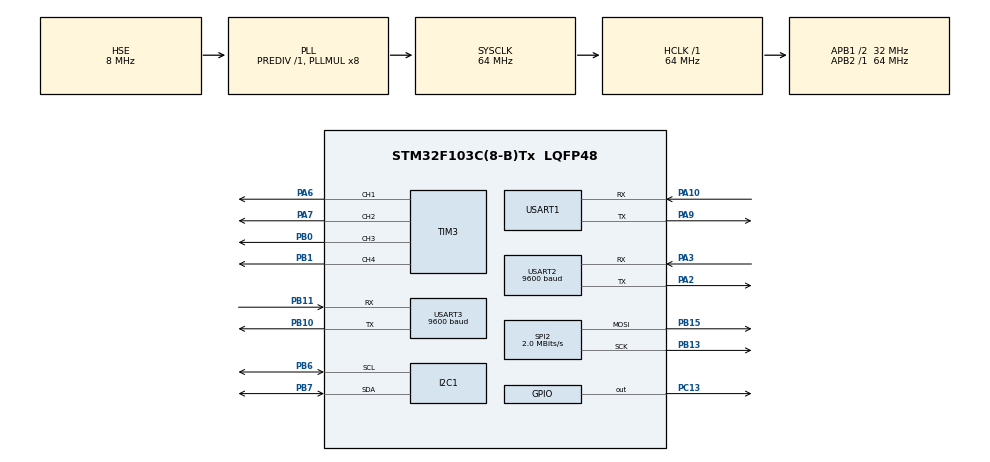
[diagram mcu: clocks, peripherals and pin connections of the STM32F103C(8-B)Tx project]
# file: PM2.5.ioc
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Mcu.Family=STM32F1
Mcu.Name=STM32F103C(8-B)Tx
Mcu.Package=LQFP48
NVIC.PriorityGroup=NVIC_PRIORITYGROUP_4
NVIC.USART1_IRQn=true\:0\:0\:false\:false\:true
NVIC.USART2_IRQn=true\:0\:0\:false\:false\:true
NVIC.USART3_IRQn=true\:0\:0\:false\:false\:true
PA10.Mode=Asynchronous
PA10.Signal=USART1_RX
PA13.Mode=Serial_Wire
PA13.Signal=SYS_JTMS-SWDIO
PA14.Mode=Serial_Wire
PA14.Signal=SYS_JTCK-SWCLK
PA2.Mode=Asynchronous
PA2.Signal=USART2_TX
PA3.Mode=Asynchronous
PA3.Signal=USART2_RX
PA6.Signal=S_TIM3_CH1
PA7.Signal=S_TIM3_CH2
PA9.Mode=Asynchronous
PA9.Signal=USART1_TX
PB0.Signal=S_TIM3_CH3
PB1.Signal=S_TIM3_CH4
PB10.Mode=Asynchronous
PB10.Signal=USART3_TX
PB11.Mode=Asynchronous
PB11.Signal=USART3_RX
PB13.Mode=TX_Only_Simplex_Unidirect_Master
PB13.Signal=SPI2_SCK
PB15.Mode=TX_Only_Simplex_Unidirect_Master
PB15.Signal=SPI2_MOSI
PB6.Mode=I2C
PB6.Signal=I2C1_SCL
PB7.Mode=I2C
PB7.Signal=I2C1_SDA
PC13-TAMPER-RTC.Signal=GPIO_Output
PC14-OSC32_IN.Mode=LSE-External-Oscillator
PC14-OSC32_IN.Signal=RCC_OSC32_IN
PC15-OSC32_OUT.Mode=LSE-External-Oscillator
PC15-OSC32_OUT.Signal=RCC_OSC32_OUT
PD0-OSC_IN.Mode=HSE-External-Oscillator
PD0-OSC_IN.Signal=RCC_OSC_IN
PD1-OSC_OUT.Mode=HSE-External-Oscillator
PD1-OSC_OUT.Signal=RCC_OSC_OUT
ProjectManager.HeapSize=0x200
ProjectManager.StackSize=0x400
ProjectManager.TargetToolchain=MDK-ARM V5
RCC.AHBFreq_Value=64000000
RCC.APB1CLKDivider=RCC_HCLK_DIV2
RCC.APB1Freq_Value=32000000
RCC.APB1TimFreq_Value=64000000
RCC.APB2Freq_Value=64000000
RCC.APB2TimFreq_Value=64000000
RCC.HCLKFreq_Value=64000000
RCC.HSIState=RCC_HSI_ON
RCC.PLLMUL=RCC_PLL_MUL8
RCC.PLLSourceVirtual=RCC_PLLSOURCE_HSE
RCC.SYSCLKFreq_VALUE=64000000
RCC.SYSCLKSource=RCC_SYSCLKSOURCE_PLLCLK
RCC.USBFreq_Value=64000000
SH.S_TIM3_CH1.0=TIM3_CH1,PWM Generation1 CH1
SH.S_TIM3_CH2.0=TIM3_CH2,PWM Generation2 CH2
SH.S_TIM3_CH3.0=TIM3_CH3,PWM Generation3 CH3
SH.S_TIM3_CH4.0=TIM3_CH4,PWM Generation4 CH4
SPI2.BaudRatePrescaler=SPI_BAUDRATEPRESCALER_16
SPI2.CalculateBaudRate=2.0 MBits/s
SPI2.Mode=SPI_MODE_MASTER
TIM3.Channel-PWM\ Generation2\ CH2=TIM_CHANNEL_2
TIM3.Channel-PWM\ Generation3\ CH3=TIM_CHANNEL_3
TIM3.Channel-PWM\ Generation4\ CH4=TIM_CHANNEL_4
USART2.BaudRate=9600
USART3.BaudRate=9600
board=PM2.5

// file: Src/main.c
/**
  ******************************************************************************
  * File Name          : main.c
  * Description        : Main program body
  ******************************************************************************
  *
  * COPYRIGHT(c) 2017 STMicroelectronics
  *
  * Redistribution and use in source and binary forms, with or without modification,
  * are permitted provided that the following conditions are met:
  *   1. Redistributions of source code must retain the above copyright notice,
  *      this list of conditions and the following disclaimer.
  *   2. Redistributions in binary form must reproduce the above copyright notice,
  *      this list of conditions and the following disclaimer in the documentation
  *      and/or other materials provided with the distribution.
  *   3. Neither the name of STMicroelectronics nor the names of its contributors
  *      may be used to endorse or promote products derived from this software
  *      without specific prior written permission.
  *
  * THIS SOFTWARE IS PROVIDED BY THE COPYRIGHT HOLDERS AND CONTRIBUTORS "AS IS"
  * AND ANY EXPRESS OR IMPLIED WARRANTIES, INCLUDING, BUT NOT LIMITED TO, THE
  * IMPLIED WARRANTIES OF MERCHANTABILITY AND FITNESS FOR A PARTICULAR PURPOSE ARE
  * DISCLAIMED. IN NO EVENT SHALL THE COPYRIGHT HOLDER OR CONTRIBUTORS BE LIABLE
  * FOR ANY DIRECT, INDIRECT, INCIDENTAL, SPECIAL, EXEMPLARY, OR CONSEQUENTIAL
  * DAMAGES (INCLUDING, BUT NOT LIMITED TO, PROCUREMENT OF SUBSTITUTE GOODS OR
  * SERVICES; LOSS OF USE, DATA, OR PROFITS; OR BUSINESS INTERRUPTION) HOWEVER
  * CAUSED AND ON ANY THEORY OF LIABILITY, WHETHER IN CONTRACT, STRICT LIABILITY,
  * OR TORT (INCLUDING NEGLIGENCE OR OTHERWISE) ARISING IN ANY WAY OUT OF THE USE
  * OF THIS SOFTWARE, EVEN IF ADVISED OF THE POSSIBILITY OF SUCH DAMAGE.
  *
  ******************************************************************************
  */
#include "main.h"
#include "stm32f1xx_hal.h"
#include "i2c.h"
#include "spi.h"
#include "tim.h"
#include "usart.h"
#include "gpio.h"

/* USER CODE BEGIN PV */
/* Private variables ---------------------------------------------------------*/

/* USER CODE END PV */

void SystemClock_Config(void);
void Error_Handler(void);

/* USER CODE BEGIN PFP */
/* Private function prototypes -----------------------------------------------*/

/* USER CODE END PFP */

/* USER CODE BEGIN 0 */

int fputc(int ch, FILE *f)
{
  HAL_UART_Transmit(&huart1, (uint8_t *)&ch,1, 0xFFFF);
  return ch;
}

unsigned char data1=0, data2=0, data3=0;
unsigned char update = 0;

unsigned char askco2[7] = {0x42, 0x4D, 0xE3, 0x00, 0x00, 0x01, 0x72};
unsigned char co2s[12]={0}, co2state=0;
uint16_t co2=0, lastco2=0;
uint32_t now=0, last=0;

void dealco2(){
	//42 4D 00 08 0A 4D 3C 7F 0A EA 02 9D
	co2s[co2state++] = data3;
	if(co2state == 1 && co2s[0] != 0x42) co2state = 0; //��ʼ��1
	if(co2state == 2 && co2s[1] != 0x4d) co2state = 0; //��ʼ��1
	if(co2state == 12){
		co2 = (co2s[4]<<8) + co2s[5];
		co2state = 0;	//�������
		if(co2 != lastco2){
			lastco2 = co2;
			update = 1;
		}
	}
}

unsigned char pm[32]={0}, pmstate=0;
uint16_t pm1_0=0, pm2_5=0, pm10=0;

void dealpm(){
	// 42 4D 00 1C 00 09 00 0B 00 0C 00 09 00 0B 00 0C 09 5A 01 E3 00 2B 00 04 00 01 00 00 91 00 02 F3
	pm[pmstate++] = data2;
	if(pmstate == 1 && pm[0] != 0x42) pmstate = 0; //��ʼ��1
	if(pmstate == 2 && pm[1] != 0x4d) pmstate = 0; //��ʼ��1
	if(pmstate == 32){
		pm1_0 = (pm[10]<<8) + pm[11];
		pm2_5 = (pm[12]<<8) + pm[13];
		pm10 = (pm[14]<<8) + pm[15];
		pmstate = 0;	//�������
		update = 1;
	}
}

void HAL_UART_RxCpltCallback(UART_HandleTypeDef *huart) {
	if(huart->Instance == USART1) {
		HAL_UART_Transmit(huart, &data1, 1, 0);
		HAL_UART_Receive_IT(huart, &data1, 1);
	}else if(huart->Instance == USART2) {
		dealpm();
		HAL_UART_Receive_IT(huart, &data2, 1);
	}else if(huart->Instance == USART3) {
		dealco2();
		HAL_UART_Receive_IT(huart, &data3, 1);
	}
}

__forceinline void set_bit(unsigned char *data, unsigned char bit, unsigned char value){
	if(value == 0) *data &= ~(1<<bit);
	else           *data |=  (1<<bit);
}

// Color Map for aqi
uint32_t Good        = 0x009966;
uint32_t Moderate    = 0xFFDE33;
uint32_t Unhealthy1  = 0xFF9933;
uint32_t Unhealthy2  = 0xCC0033;
uint32_t Unhealthy3  = 0x660099;
uint32_t Hazardous   = 0x7E0023;
uint32_t *colortable[6] = {&Good, &Moderate, &Unhealthy1, &Unhealthy2, &Unhealthy3, &Hazardous}, colorindex=0;
uint8_t colors[15]={0};
uint8_t spaces[10]={0};

void set_color(uint32_t color){
	HAL_SPI_Transmit(&hspi2, spaces, 10, 0xFF);

	uint8_t i=0, j=0;
	for(i=0; i<24; i++){
		if( color&&0x01 == 0){
			set_bit(colors+(j/8), j%8, 1);j++;
			set_bit(colors+(j/8), j%8, 1);j++;
			set_bit(colors+(j/8), j%8, 1);j++;
			set_bit(colors+(j/8), j%8, 1);j++;
			set_bit(colors+(j/8), j%8, 0);j++;
		}else{
			set_bit(colors+(j/8), j%8, 1);j++;
			set_bit(colors+(j/8), j%8, 0);j++;
			set_bit(colors+(j/8), j%8, 0);j++;
			set_bit(colors+(j/8), j%8, 0);j++;
			set_bit(colors+(j/8), j%8, 0);j++;
		}
		color = color >> 1;
	}
	HAL_SPI_Transmit(&hspi2, colors, 15, 0xFF);
}

/* USER CODE END 0 */

int main(void)
{

  /* MCU Configuration----------------------------------------------------------*/

  /* Reset of all peripherals, Initializes the Flash interface and the Systick. */
  HAL_Init();

  /* Configure the system clock */
  SystemClock_Config();

  /* Initialize all configured peripherals */
  MX_GPIO_Init();
  MX_I2C1_Init();
  MX_USART1_UART_Init();
  MX_USART2_UART_Init();
  MX_USART3_UART_Init();
  MX_TIM3_Init();
  MX_SPI2_Init();

  /* USER CODE BEGIN 2 */
	HAL_UART_Receive_IT(&huart1, &data1, 1);
	HAL_UART_Receive_IT(&huart2, &data2, 1);
	HAL_UART_Receive_IT(&huart3, &data3, 1);
  /* USER CODE END 2 */

  /* Infinite loop */
  while (1)
  {

  /* USER CODE BEGIN 3 */

		if(update == 1){
			HAL_GPIO_WritePin(GPIOC, GPIO_PIN_13, GPIO_PIN_RESET);
			printf("PM1.0: %d, PM2.5: %d, PM10: %d, CO2: %d\n", pm1_0, pm2_5, pm10, co2);
			HAL_GPIO_WritePin(GPIOC, GPIO_PIN_13, GPIO_PIN_SET);
			update = 0;
		}

		now = HAL_GetTick();
		if(now - last > 1000){
			HAL_UART_Transmit(&huart3, askco2, 7, 0xFF);
			last = now;
			set_color(*colortable[colorindex++ % 6]);
		}

  }
  /* USER CODE END 3 */

}

/** System Clock Configuration
*/
void SystemClock_Config(void)
{

  RCC_OscInitTypeDef RCC_OscInitStruct;
  RCC_ClkInitTypeDef RCC_ClkInitStruct;

    /**Initializes the CPU, AHB and APB busses clocks
    */
  RCC_OscInitStruct.OscillatorType = RCC_OSCILLATORTYPE_HSE;
  RCC_OscInitStruct.HSEState = RCC_HSE_ON;
  RCC_OscInitStruct.HSEPredivValue = RCC_HSE_PREDIV_DIV1;
  RCC_OscInitStruct.HSIState = RCC_HSI_ON;
  RCC_OscInitStruct.PLL.PLLState = RCC_PLL_ON;
  RCC_OscInitStruct.PLL.PLLSource = RCC_PLLSOURCE_HSE;
  RCC_OscInitStruct.PLL.PLLMUL = RCC_PLL_MUL8;
  if (HAL_RCC_OscConfig(&RCC_OscInitStruct) != HAL_OK)
  {
    Error_Handler();
  }

    /**Initializes the CPU, AHB and APB busses clocks
    */
  RCC_ClkInitStruct.ClockType = RCC_CLOCKTYPE_HCLK|RCC_CLOCKTYPE_SYSCLK
                              |RCC_CLOCKTYPE_PCLK1|RCC_CLOCKTYPE_PCLK2;
  RCC_ClkInitStruct.SYSCLKSource = RCC_SYSCLKSOURCE_PLLCLK;
  RCC_ClkInitStruct.AHBCLKDivider = RCC_SYSCLK_DIV1;
  RCC_ClkInitStruct.APB1CLKDivider = RCC_HCLK_DIV2;
  RCC_ClkInitStruct.APB2CLKDivider = RCC_HCLK_DIV1;

  if (HAL_RCC_ClockConfig(&RCC_ClkInitStruct, FLASH_LATENCY_2) != HAL_OK)
  {
    Error_Handler();
  }

    /**Configure the Systick interrupt time
    */
  HAL_SYSTICK_Config(HAL_RCC_GetHCLKFreq()/1000);

    /**Configure the Systick
    */
  HAL_SYSTICK_CLKSourceConfig(SYSTICK_CLKSOURCE_HCLK);

  /* SysTick_IRQn interrupt configuration */
  HAL_NVIC_SetPriority(SysTick_IRQn, 0, 0);
}

void Error_Handler(void)
{
  while(1)
  {
  }
}

/************************ (C) COPYRIGHT STMicroelectronics *****END OF FILE****/
